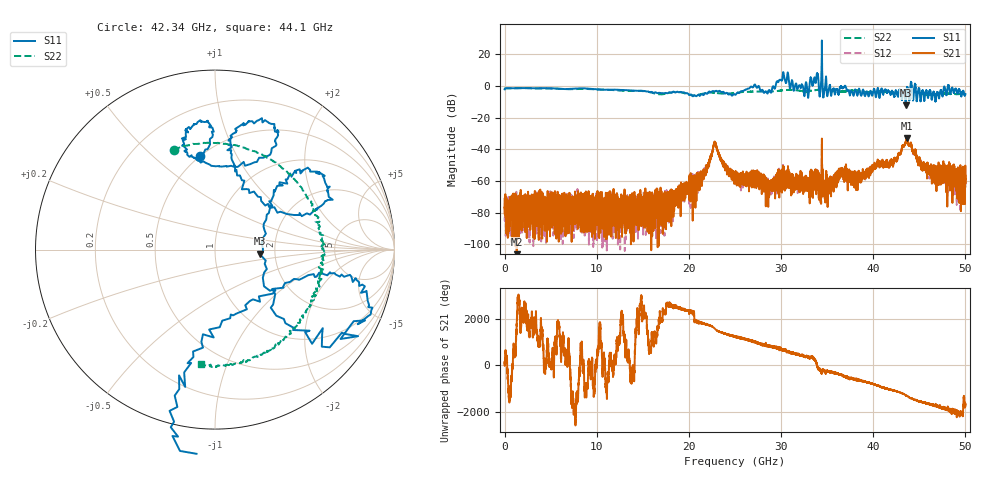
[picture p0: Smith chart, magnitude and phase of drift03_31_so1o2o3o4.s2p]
!Created with skrf (http://scikit-rf.org).
# Hz S RI R 50.0
!freq ReS11 ImS11 ReS21 ImS21 ReS12 ImS12 ReS22 ImS22
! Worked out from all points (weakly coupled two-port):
!   10000 points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, 5.3 MHz to 50 GHz, reference 50 ohm
!   highest |S21| = -33.08 dB at 43.65 GHz (marker M1); lowest = -114.5 dB at 1.32 GHz (marker M2)
!   lowest |S11| = -12.1 dB at 43.53 GHz (marker M3), VSWR 1.66, Z = 82.9 - j4.13 ohm
!   |S11| at or under -10 dB: 43.48831 GHz to 43.55616 GHz (67.85 MHz wide, 0.156 % of centre)
!   |S22| runs from -5.9 to -1.3 dB; largest |S21 - S12| = 0.021
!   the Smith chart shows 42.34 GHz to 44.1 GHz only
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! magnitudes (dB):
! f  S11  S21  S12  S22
! 5.3 MHz  -2.1  -71.3  -78.4  -2.1
! 1.32 GHz  -1.4  -114.5  -76.3  -1.4
! 8.34 GHz  -1.5  -76.0  -69.6  -1.9
! 16.67 GHz  -4.4  -68.8  -71.8  -5.2
! 20.73 GHz  -6.2  -58.6  -62.7  -5.8
! 21.94 GHz  -4.9  -54.7  -50.3  -4.4
! 22.81 GHz  -3.4  -35.4  -35.3  -4.5
! 25.01 GHz  -5.5  -59.9  -57.1  -4.3
! 27.02 GHz  -0.3  -55.7  -54.6  -3.5
! 28.72 GHz  -2.5  -63.3  -63.8  -3.6
! 30.14 GHz  4.4  -61.2  -56.4  -2.8
! 32.74 GHz  2.0  -58.5  -61.6  -3.4
! 33.34 GHz  2.6  -57.4  -61.4  -2.9
! 33.82 GHz  4.0  -68.4  -60.1  -2.5
! 34.9 GHz  4.5  -54.2  -58.9  -2.4
! 36.48 GHz  -0.4  -54.5  -56.4  -3.8
! 38.11 GHz  -2.7  -60.9  -56.1  -2.8
! 41.67 GHz  -3.0  -50.2  -49.7  -3.7
! 43.53 GHz  -12.1  -35.6  -35.0  -4.2
! 43.65 GHz  -1.5  -33.1  -33.2  -4.1
! 46.29 GHz  -5.9  -55.5  -53.9  -5.5
! 50 GHz  -5.2  -56.7  -55.9  -5.0
